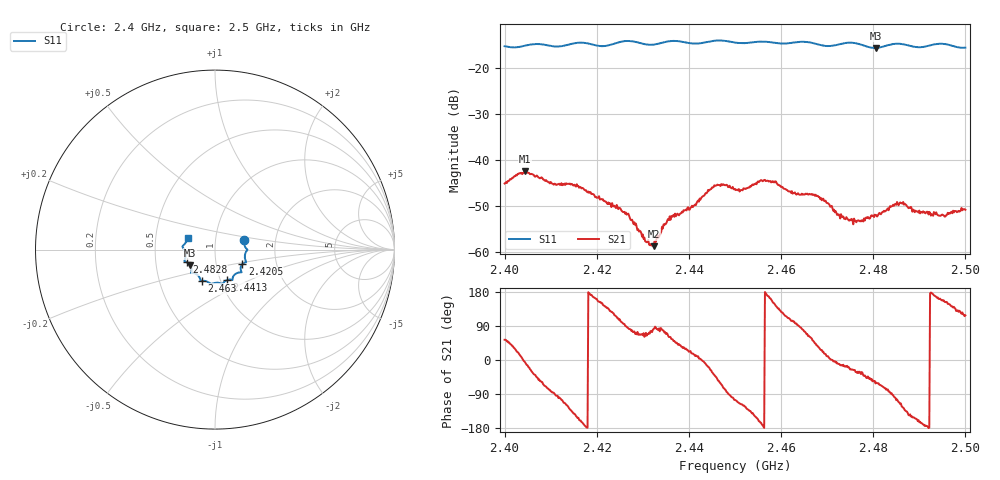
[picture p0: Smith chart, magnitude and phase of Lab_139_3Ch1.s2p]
# Hz S RI R 50
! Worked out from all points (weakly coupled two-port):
!   601 points, 2.4 GHz to 2.5 GHz, reference 50 ohm
!   highest |S21| = -42.53 dB at 2.4045 GHz (marker M1); lowest = -58.8 dB at 2.4323 GHz (marker M2)
!   lowest |S11| = -15.7 dB at 2.4805 GHz (marker M3), VSWR 1.39, Z = 37.3 - j6.69 ohm
!   |S11| at or under -10 dB: start of sweep to end of sweep
!   S12 and S22 are empty: the file has one direction only
!   S11 on the Smith chart (normalised r, x): 2.4 GHz: 1.38, +0.15; 2.4205 GHz: 1.34, -0.22; 2.4413 GHz: 1.08, -0.38; 2.463 GHz: 0.82, -0.29; 2.4828 GHz: 0.72, -0.10; 2.5 GHz: 0.73, +0.10
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2.4e9  0.1629 0.0521  0.00328 0.00441  0 0  0 0
2.4045e9  0.1734 0.00679  0.00742 -0.000927  0 0  0 0
2.416667e9  0.1733 -0.0698  -0.00467 -0.00139  0 0  0 0
2.4205e9  0.1519 -0.081  -0.0036 0.00175  0 0  0 0
2.4265e9  0.1483 -0.1263  0.000107 0.00252  0 0  0 0
2.430333e9  0.1251 -0.1297  0.000682 0.00124  0 0  0 0
2.432333e9  0.1061 -0.1428  0.000159 0.00113  0 0  0 0
2.433333e9  0.1005 -0.1516  0.000268 0.00139  0 0  0 0
2.435833e9  0.0978 -0.1675  0.00117 0.00211  0 0  0 0
2.441333e9  0.0674 -0.1695  0.00319 0.000606  0 0  0 0
2.446e9  0.0419 -0.1924  0.00361 -0.00381  0 0  0 0
2.45e9  0.0247 -0.1859  -0.00127 -0.00464  0 0  0 0
2.456667e9  -0.0238 -0.1898  -0.00583 0.000388  0 0  0 0
2.463e9  -0.072 -0.1738  -0.000577 0.00436  0 0  0 0
2.466667e9  -0.0817 -0.1673  0.00234 0.00352  0 0  0 0
2.475167e9  -0.1339 -0.1305  0.00199 -0.000904  0 0  0 0
2.4805e9  -0.1384 -0.0872  0.00117 -0.00218  0 0  0 0
2.482833e9  -0.1586 -0.0701  0.000549 -0.00274  0 0  0 0
2.483333e9  -0.1626 -0.0683  0.000335 -0.00279  0 0  0 0
2.486333e9  -0.1699 -0.0602  -0.00187 -0.00275  0 0  0 0
2.495167e9  -0.1805 0.0192  -0.00229 0.001  0 0  0 0
2.5e9  -0.1521 0.0639  -0.00133 0.00252  0 0  0 0
